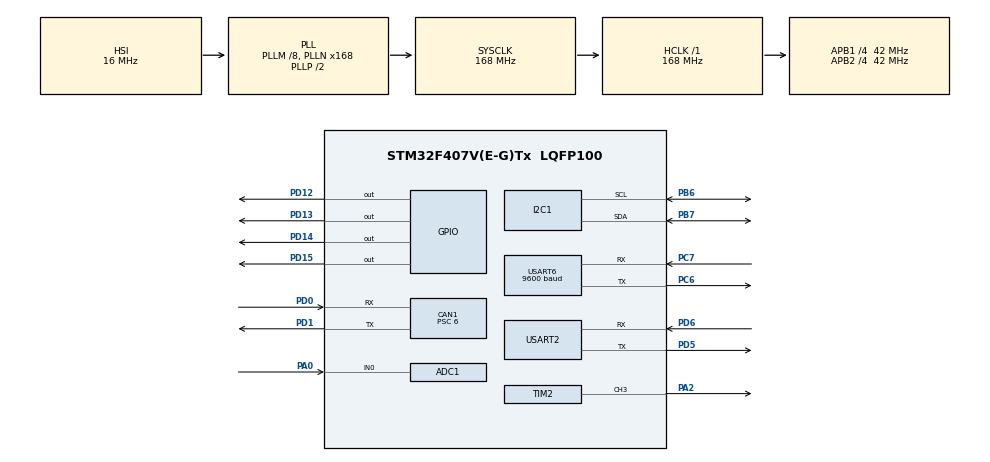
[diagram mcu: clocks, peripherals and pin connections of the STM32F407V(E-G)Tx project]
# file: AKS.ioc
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ADC1.Channel-1\#ChannelRegularConversion=ADC_CHANNEL_0
ADC1.ClockPrescaler=ADC_CLOCK_SYNC_PCLK_DIV4
ADC1.ContinuousConvMode=ENABLE
ADC1.NbrOfConversion=1
ADC1.NbrOfConversionFlag=1
ADC1.Rank-1\#ChannelRegularConversion=1
ADC1.SamplingTime-1\#ChannelRegularConversion=ADC_SAMPLETIME_56CYCLES
ADC1.ScanConvMode=ENABLE
ADC1.master=1
CAN1.BS1=CAN_BS1_11TQ
CAN1.BS2=CAN_BS2_2TQ
CAN1.CalculateBaudRate=500000
CAN1.CalculateTimeBit=2000
CAN1.CalculateTimeQuantum=142.85714285714286
CAN1.Prescaler=6
Dma.Request0=USART6_RX
Dma.USART6_RX.0.Direction=DMA_PERIPH_TO_MEMORY
Dma.USART6_RX.0.FIFOMode=DMA_FIFOMODE_DISABLE
Dma.USART6_RX.0.Instance=DMA2_Stream1
Dma.USART6_RX.0.MemDataAlignment=DMA_MDATAALIGN_BYTE
Dma.USART6_RX.0.MemInc=DMA_MINC_ENABLE
Dma.USART6_RX.0.Mode=DMA_CIRCULAR
Dma.USART6_RX.0.PeriphDataAlignment=DMA_PDATAALIGN_BYTE
Dma.USART6_RX.0.PeriphInc=DMA_PINC_DISABLE
Dma.USART6_RX.0.Priority=DMA_PRIORITY_LOW
FREERTOS.Tasks01=nextion,24,128,start_nextion,Default,NULL,Dynamic,NULL,NULL;rf,24,128,start_rf,Default,NULL,Dynamic,NULL,NULL;can,24,128,start_can,Default,NULL,Dynamic,NULL,NULL;dac,24,128,StartTask04,Default,NULL,Dynamic,NULL,NULL
Mcu.Family=STM32F4
Mcu.Name=STM32F407V(E-G)Tx
Mcu.Package=LQFP100
NVIC.DMA2_Stream1_IRQn=true\:5\:0\:false\:false\:true\:true\:false\:true\:true
NVIC.PriorityGroup=NVIC_PRIORITYGROUP_4
NVIC.TIM7_IRQn=true\:15\:0\:false\:false\:true\:false\:true\:true\:true
NVIC.TimeBase=TIM7_IRQn
NVIC.TimeBaseIP=TIM7
PA0-WKUP.Signal=ADCx_IN0
PA13.Mode=Serial_Wire
PA13.Signal=SYS_JTMS-SWDIO
PA14.Mode=Serial_Wire
PA14.Signal=SYS_JTCK-SWCLK
PA2.Signal=S_TIM2_CH3
PB6.Mode=I2C
PB6.Signal=I2C1_SCL
PB7.Mode=I2C
PB7.Signal=I2C1_SDA
PC6.Mode=Asynchronous
PC6.Signal=USART6_TX
PC7.Mode=Asynchronous
PC7.Signal=USART6_RX
PD0.Mode=CAN_Activate
PD0.Signal=CAN1_RX
PD1.Mode=CAN_Activate
PD1.Signal=CAN1_TX
PD12.Signal=GPIO_Output
PD13.Signal=GPIO_Output
PD14.Signal=GPIO_Output
PD15.Signal=GPIO_Output
PD5.Mode=Asynchronous
PD5.Signal=USART2_TX
PD6.Mode=Asynchronous
PD6.Signal=USART2_RX
PH0-OSC_IN.Mode=HSE-External-Clock-Source
PH0-OSC_IN.Signal=RCC_OSC_IN
PH1-OSC_OUT.Mode=HSE-External-Clock-Source
PH1-OSC_OUT.Signal=RCC_OSC_OUT
ProjectManager.HeapSize=0x200
ProjectManager.StackSize=0x400
ProjectManager.TargetToolchain=STM32CubeIDE
RCC.48MHZClocksFreq_Value=84000000
RCC.AHBFreq_Value=168000000
RCC.APB1CLKDivider=RCC_HCLK_DIV4
RCC.APB1Freq_Value=42000000
RCC.APB1TimFreq_Value=84000000
RCC.APB2CLKDivider=RCC_HCLK_DIV4
RCC.APB2Freq_Value=42000000
RCC.APB2TimFreq_Value=84000000
RCC.CortexFreq_Value=168000000
RCC.HCLKFreq_Value=168000000
RCC.HSE_VALUE=25000000
RCC.HSI_VALUE=16000000
RCC.LSE_VALUE=32768
RCC.PLLM=8
RCC.PLLN=168
RCC.SYSCLKFreq_VALUE=168000000
RCC.SYSCLKSource=RCC_SYSCLKSOURCE_PLLCLK
RCC.VCOOutputFreq_Value=336000000
SH.ADCx_IN0.0=ADC1_IN0,IN0
SH.S_TIM2_CH3.0=TIM2_CH3,PWM Generation3 CH3
TIM2.Channel-PWM\ Generation3\ CH3=TIM_CHANNEL_3
TIM2.Period=100-1
USART2.VirtualMode=VM_ASYNC
USART6.BaudRate=9600
USART6.VirtualMode=VM_ASYNC
VP_ADC1_Vref_Input.Mode=IN-Vrefint
VP_FREERTOS_VS_CMSIS_V2.Mode=CMSIS_V2
VP_SYS_VS_tim7.Mode=TIM7
VP_TIM2_VS_ClockSourceINT.Mode=Internal
board=custom

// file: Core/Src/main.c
/* USER CODE BEGIN Header */
/**
  ******************************************************************************
  * @file           : main.c
  * @brief          : Main program body
  ******************************************************************************
  * @attention
  *
  * Copyright (c) 2023 STMicroelectronics.
  * All rights reserved.
  *
  * This software is licensed under terms that can be found in the LICENSE file
  * in the root directory of this software component.
  * If no LICENSE file comes with this software, it is provided AS-IS.
  *
  ******************************************************************************
  */
/* USER CODE END Header */
#include "main.h"
#include "cmsis_os.h"

/* USER CODE BEGIN Includes */

/*________________________________External Libs_______________________________*/

#include "stdlib.h"
#include "string.h"
#include "stdio.h"
/*----------------------------------------------------------------------------*/
#include "electricar.h"
#include "i2c-lcd.h"
/*____________________________________________________________________________*/

/*________________________________CAN Includes________________________________*/

CAN_TxHeaderTypeDef pTxHeader;
CAN_RxHeaderTypeDef pRxHeader;
CAN_FilterTypeDef sFilterConfig;
uint32_t pTxMailbox;
uint8_t RxData[8];
/*____________________________________________________________________________*/

/*___________________RF VARIABLES, COMPRESSED TEMPS & CONSTS__________________*/

char arr[300];
char tempp[25][4];
const float max_battery=100.8;
char myMessagex[50];
/*____________________________________________________________________________*/

/*______________________________AKS MAIN STRUCTER_____________________________*/

struct struct1{
	struct struct2{
		float battery_voltage[24];
		//float battery_temparature;
		int battery_temparature;
		uint8_t bms_error_code;
		float max_battery;
		float min_battery;
		int sum_battery;
	}BMS;
	struct struct3{
		int charge_watt;
		int time;
		uint8_t voltage_error;
		uint8_t current_error;
		uint8_t temperature_error;
		uint8_t ReadyToFlow;
		uint8_t start_charge_state;
	}CHARGER;
	struct struct4{
		int vehicle_speed: 1;
	}DRIVER;
	struct struct5{
		uint8_t stop_;
		uint8_t hazard_;
		uint8_t left_;
		uint8_t right_;
		uint8_t light_;
		uint8_t wiper_;
		uint8_t horn_;
		char direction_;
	}RELAY;

}ecar;

/*____________________________________________________________________________*/

/*___________________________________NEXTION__________________________________*/

/*PAGE1*/
#define power "t9" //%
#define speed "t10"
#define temp "t11" //°43
#define watt "t0"
#define charge_percentage "t12"
#define charge_time "t5" //sn
#define state_of_charge "p6"
#define left_arrow "p9"
#define right_arrow "p17"
#define horn "p11"
#define lights "p13"
#define wiper "p15"

/*PAGE2*/
#define cell1 "x0"
#define cell2 "x1"
#define cell3 "x2"
#define cell4 "x3"
#define cell5 "x4"
#define cell6 "x5"
#define cell7 "x6"
#define cell8 "x7"
#define cell9 "x8"
#define cell10 "x9"
#define cell11 "x10"
#define cell12 "x11"
#define cell13 "x12"
#define cell14 "x13"
#define cell15 "x14"
#define cell16 "x15"
#define cell17 "x16"
#define cell18 "x17"
#define cell19 "x18"
#define cell20 "x19"
#define cell21 "x20"
#define cell22 "x21"
#define cell23 "x22"
#define cell24 "x23"
#define min_cell "x24"
#define max_cell "x25"

/*PAGE3*/
#define charge_code "t71"
#define voltage_err_code "p81"
#define current_err_code "p83"
#define temperature_err_code "p85"
/*____________________________________________________________________________*/

/* USER CODE END Includes */

/* USER CODE BEGIN PD */
#define Vrefin_cal ((uint16_t *)((uint32_t)0x1FFF7A2A))
/* USER CODE END PD */

 ADC_HandleTypeDef hadc1;

CAN_HandleTypeDef hcan1;

I2C_HandleTypeDef hi2c1;

TIM_HandleTypeDef htim2;

UART_HandleTypeDef huart2;
UART_HandleTypeDef huart6;
DMA_HandleTypeDef hdma_usart6_rx;

/* Definitions for nextion */
osThreadId_t nextionHandle;
const osThreadAttr_t nextion_attributes = {
  .name = "nextion",
  .stack_size = 128 * 4,
  .priority = (osPriority_t) osPriorityNormal,
};
/* Definitions for rf */
osThreadId_t rfHandle;
const osThreadAttr_t rf_attributes = {
  .name = "rf",
  .stack_size = 128 * 4,
  .priority = (osPriority_t) osPriorityNormal,
};
/* Definitions for can */
osThreadId_t canHandle;
const osThreadAttr_t can_attributes = {
  .name = "can",
  .stack_size = 128 * 4,
  .priority = (osPriority_t) osPriorityNormal,
};
/* Definitions for dac */
osThreadId_t dacHandle;
const osThreadAttr_t dac_attributes = {
  .name = "dac",
  .stack_size = 128 * 4,
  .priority = (osPriority_t) osPriorityNormal,
};

void SystemClock_Config(void);
static void MX_GPIO_Init(void);
static void MX_CAN1_Init(void);
static void MX_USART2_UART_Init(void);
static void MX_USART6_UART_Init(void);
static void MX_ADC1_Init(void);
static void MX_DMA_Init(void);
static void MX_TIM2_Init(void);
static void MX_I2C1_Init(void);
void start_nextion(void *argument);
void start_rf(void *argument);
void start_can(void *argument);
void StartTask04(void *argument);

/* USER CODE BEGIN PFP */
/*______________________________External Functions____________________________*/
int prepare_data(){
	sprintf(arr,"%c%c",ecar.RELAY.direction_,ci2a(ecar.DRIVER.vehicle_speed));
	for(int j=0;j<24;j++){
		strcat(arr,cf2a(ecar.BMS.battery_voltage[j],tempp[j]));
		if(j==23){
			strcat(arr,cf2a((float)ecar.BMS.battery_temparature,tempp[j+1]));
		}
	}
	strcat(arr,"1\0");
	return 1;
}

int dest[8];
void decimal_to_bin(uint8_t number){ // EX for 255 = [1][1][1][1][1][1][1][1] binary code
    for(int i=0;i<8;i++){
        dest[i] = number%2;
        number/=2;
    }
}
/* USER CODE END PFP */

/* USER CODE BEGIN 0 */
char M[20];
int fan_level=0;
int temp_of_lcd;

void GET_ADC_VALUE()
{
	if(HAL_ADC_PollForConversion(&hadc1, 5) == HAL_OK)
	{
		uint16_t adc_vall = HAL_ADC_GetValue(&hadc1);
		temp_of_lcd = (adc_vall*330) / 4095;
	}
}

void SEND_DATA_TO_LCD(){

    lcd_init();
    lcd_send_cmd(0x80);
    sprintf(&M[0],"TEMP %cC   : %d%cC", (char)223,ecar.BMS.battery_temparature,(char)223);
    lcd_send_string(&M[0]);
    HAL_Delay(100);

	sprintf(&M[0],"FAN LEVEL : %s", fan_level==0?"----":(fan_level==25?"#---":(fan_level==50?"##--":(fan_level==75?"###-":"####"))));
	lcd_send_cmd(0xC0);
	lcd_send_string(&M[0]);
	HAL_Delay(100);
}

int WaitForMission(uint8_t dest_id,uint8_t id,int timeout,uint8_t message){ // can send with feedback func
	int t_out=0;
	int r_val;
	//int durum=0;
	while(1){
		HAL_CAN_AddTxMessage(&hcan1, &pTxHeader, &message, &pTxMailbox);
		uint8_t rxData[1];
		HAL_CAN_GetRxMessage(&hcan1, CAN_RX_FIFO0, &pRxHeader, rxData);
		if(rxData[0]==id && (dest_id==pRxHeader.StdId || !dest_id)){
			r_val = 1;
			break;
		}
		t_out++;
		HAL_Delay(1);
		if(t_out==timeout){
			r_val = 0;
			break;
		}
	}
	return r_val;
}
void CalculateMaxBattery(){
	int max=ecar.BMS.battery_voltage[0];
	for(int n=1;n<24;n++){
		if(max<ecar.BMS.battery_voltage[n]){max=ecar.BMS.battery_voltage[n];}
	}
	ecar.BMS.max_battery=max;
}
void CalculateMinBattery(){
	int min=ecar.BMS.battery_voltage[0];
	for(int n=1;n<24;n++){
		if(min>ecar.BMS.battery_voltage[n]){min=ecar.BMS.battery_voltage[n];}
	}
	ecar.BMS.min_battery=min;
}
/*____________________________________________________________________________*/

/* USER CODE END 0 */

int main(void)
{

  /* MCU Configuration--------------------------------------------------------*/

  /* Reset of all peripherals, Initializes the Flash interface and the Systick. */
  HAL_Init();

  /* Configure the system clock */
  SystemClock_Config();

  /* Initialize all configured peripherals */
  MX_GPIO_Init();
  MX_CAN1_Init();
  MX_USART2_UART_Init();
  MX_USART6_UART_Init();
  MX_ADC1_Init();
  MX_DMA_Init();
  MX_TIM2_Init();
  MX_I2C1_Init();
  /* USER CODE BEGIN 2 */
  HAL_CAN_Start(&hcan1);
  HAL_ADC_Start(&hadc1);
  HAL_TIM_PWM_Start(&htim2, TIM_CHANNEL_3);
  TIM2->CCR3 = 25; // ex pwm signal for fan level

  ecar.CHARGER.start_charge_state = 'I';
  //HAL_UART_Receive_DMA (&huart6, ecar.CHARGER.start_charge_state, 1);

  pTxHeader.DLC = 1;
  pTxHeader.IDE = CAN_ID_STD;
  pTxHeader.RTR = CAN_RTR_DATA;
  pTxHeader.StdId = 0x10;

   //set filter parameters
   sFilterConfig.FilterActivation = ENABLE;
   sFilterConfig.FilterBank = 0;
   sFilterConfig.FilterFIFOAssignment = CAN_FILTER_FIFO0;
   sFilterConfig.FilterIdHigh = 0x0000 ;
   sFilterConfig.FilterIdLow = 0x0000 ;
   sFilterConfig.FilterMaskIdHigh = 0x0000 ;
   sFilterConfig.FilterMaskIdLow = 0x0000 ;
   sFilterConfig.FilterMode = CAN_FILTERMODE_IDMASK;
   sFilterConfig.FilterScale = CAN_FILTERSCALE_32BIT;

   HAL_CAN_ConfigFilter(&hcan1, &sFilterConfig);

  /* USER CODE END 2 */

  /* Init scheduler */
  osKernelInitialize();

  /* Create the thread(s) */
  /* creation of nextion */
  nextionHandle = osThreadNew(start_nextion, NULL, &nextion_attributes);

  /* creation of rf */
  rfHandle = osThreadNew(start_rf, NULL, &rf_attributes);

  /* creation of can */
  canHandle = osThreadNew(start_can, NULL, &can_attributes);

  /* creation of dac */
  dacHandle = osThreadNew(StartTask04, NULL, &dac_attributes);

  /* Start scheduler */
  osKernelStart();

  /* We should never get here as control is now taken by the scheduler */
  /* Infinite loop */
  while (1)
  {

  }
}

void SystemClock_Config(void)
{
  RCC_OscInitTypeDef RCC_OscInitStruct = {0};
  RCC_ClkInitTypeDef RCC_ClkInitStruct = {0};

  /** Configure the main internal regulator output voltage
  */
  __HAL_RCC_PWR_CLK_ENABLE();
  __HAL_PWR_VOLTAGESCALING_CONFIG(PWR_REGULATOR_VOLTAGE_SCALE1);

  /** Initializes the RCC Oscillators according to the specified parameters
  * in the RCC_OscInitTypeDef structure.
  */
  RCC_OscInitStruct.OscillatorType = RCC_OSCILLATORTYPE_HSI;
  RCC_OscInitStruct.HSIState = RCC_HSI_ON;
  RCC_OscInitStruct.HSICalibrationValue = RCC_HSICALIBRATION_DEFAULT;
  RCC_OscInitStruct.PLL.PLLState = RCC_PLL_ON;
  RCC_OscInitStruct.PLL.PLLSource = RCC_PLLSOURCE_HSI;
  RCC_OscInitStruct.PLL.PLLM = 8;
  RCC_OscInitStruct.PLL.PLLN = 168;
  RCC_OscInitStruct.PLL.PLLP = RCC_PLLP_DIV2;
  RCC_OscInitStruct.PLL.PLLQ = 4;
  if (HAL_RCC_OscConfig(&RCC_OscInitStruct) != HAL_OK)
  {
    Error_Handler();
  }

  /** Initializes the CPU, AHB and APB buses clocks
  */
  RCC_ClkInitStruct.ClockType = RCC_CLOCKTYPE_HCLK|RCC_CLOCKTYPE_SYSCLK
                              |RCC_CLOCKTYPE_PCLK1|RCC_CLOCKTYPE_PCLK2;
  RCC_ClkInitStruct.SYSCLKSource = RCC_SYSCLKSOURCE_PLLCLK;
  RCC_ClkInitStruct.AHBCLKDivider = RCC_SYSCLK_DIV1;
  RCC_ClkInitStruct.APB1CLKDivider = RCC_HCLK_DIV4;
  RCC_ClkInitStruct.APB2CLKDivider = RCC_HCLK_DIV4;

  if (HAL_RCC_ClockConfig(&RCC_ClkInitStruct, FLASH_LATENCY_5) != HAL_OK)
  {
    Error_Handler();
  }
}

static void MX_ADC1_Init(void)
{

  ADC_ChannelConfTypeDef sConfig = {0};

  /** Configure the global features of the ADC (Clock, Resolution, Data Alignment and number of conversion)
  */
  hadc1.Instance = ADC1;
  hadc1.Init.ClockPrescaler = ADC_CLOCK_SYNC_PCLK_DIV4;
  hadc1.Init.Resolution = ADC_RESOLUTION_12B;
  hadc1.Init.ScanConvMode = ENABLE;
  hadc1.Init.ContinuousConvMode = ENABLE;
  hadc1.Init.DiscontinuousConvMode = DISABLE;
  hadc1.Init.ExternalTrigConvEdge = ADC_EXTERNALTRIGCONVEDGE_NONE;
  hadc1.Init.ExternalTrigConv = ADC_SOFTWARE_START;
  hadc1.Init.DataAlign = ADC_DATAALIGN_RIGHT;
  hadc1.Init.NbrOfConversion = 1;
  hadc1.Init.DMAContinuousRequests = DISABLE;
  hadc1.Init.EOCSelection = ADC_EOC_SINGLE_CONV;
  if (HAL_ADC_Init(&hadc1) != HAL_OK)
  {
    Error_Handler();
  }

  /** Configure for the selected ADC regular channel its corresponding rank in the sequencer and its sample time.
  */
  sConfig.Channel = ADC_CHANNEL_0;
  sConfig.Rank = 1;
  sConfig.SamplingTime = ADC_SAMPLETIME_56CYCLES;
  if (HAL_ADC_ConfigChannel(&hadc1, &sConfig) != HAL_OK)
  {
    Error_Handler();
  }

}

static void MX_CAN1_Init(void)
{

  hcan1.Instance = CAN1;
  hcan1.Init.Prescaler = 6;
  hcan1.Init.Mode = CAN_MODE_NORMAL;
  hcan1.Init.SyncJumpWidth = CAN_SJW_1TQ;
  hcan1.Init.TimeSeg1 = CAN_BS1_11TQ;
  hcan1.Init.TimeSeg2 = CAN_BS2_2TQ;
  hcan1.Init.TimeTriggeredMode = DISABLE;
  hcan1.Init.AutoBusOff = DISABLE;
  hcan1.Init.AutoWakeUp = DISABLE;
  hcan1.Init.AutoRetransmission = DISABLE;
  hcan1.Init.ReceiveFifoLocked = DISABLE;
  hcan1.Init.TransmitFifoPriority = DISABLE;
  if (HAL_CAN_Init(&hcan1) != HAL_OK)
  {
    Error_Handler();
  }

}

static void MX_I2C1_Init(void)
{

  hi2c1.Instance = I2C1;
  hi2c1.Init.ClockSpeed = 100000;
  hi2c1.Init.DutyCycle = I2C_DUTYCYCLE_2;
  hi2c1.Init.OwnAddress1 = 0;
  hi2c1.Init.AddressingMode = I2C_ADDRESSINGMODE_7BIT;
  hi2c1.Init.DualAddressMode = I2C_DUALADDRESS_DISABLE;
  hi2c1.Init.OwnAddress2 = 0;
  hi2c1.Init.GeneralCallMode = I2C_GENERALCALL_DISABLE;
  hi2c1.Init.NoStretchMode = I2C_NOSTRETCH_DISABLE;
  if (HAL_I2C_Init(&hi2c1) != HAL_OK)
  {
    Error_Handler();
  }

}

static void MX_TIM2_Init(void)
{

  TIM_ClockConfigTypeDef sClockSourceConfig = {0};
  TIM_MasterConfigTypeDef sMasterConfig = {0};
  TIM_OC_InitTypeDef sConfigOC = {0};

  htim2.Instance = TIM2;
  htim2.Init.Prescaler = 0;
  htim2.Init.CounterMode = TIM_COUNTERMODE_UP;
  htim2.Init.Period = 100-1;
  htim2.Init.ClockDivision = TIM_CLOCKDIVISION_DIV1;
  htim2.Init.AutoReloadPreload = TIM_AUTORELOAD_PRELOAD_DISABLE;
  if (HAL_TIM_Base_Init(&htim2) != HAL_OK)
  {
    Error_Handler();
  }
  sClockSourceConfig.ClockSource = TIM_CLOCKSOURCE_INTERNAL;
  if (HAL_TIM_ConfigClockSource(&htim2, &sClockSourceConfig) != HAL_OK)
  {
    Error_Handler();
  }
  if (HAL_TIM_PWM_Init(&htim2) != HAL_OK)
  {
    Error_Handler();
  }
  sMasterConfig.MasterOutputTrigger = TIM_TRGO_RESET;
  sMasterConfig.MasterSlaveMode = TIM_MASTERSLAVEMODE_DISABLE;
  if (HAL_TIMEx_MasterConfigSynchronization(&htim2, &sMasterConfig) != HAL_OK)
  {
    Error_Handler();
  }
  sConfigOC.OCMode = TIM_OCMODE_PWM1;
  sConfigOC.Pulse = 0;
  sConfigOC.OCPolarity = TIM_OCPOLARITY_HIGH;
  sConfigOC.OCFastMode = TIM_OCFAST_DISABLE;
  if (HAL_TIM_PWM_ConfigChannel(&htim2, &sConfigOC, TIM_CHANNEL_3) != HAL_OK)
  {
    Error_Handler();
  }
  HAL_TIM_MspPostInit(&htim2);

}

static void MX_USART2_UART_Init(void)
{

  huart2.Instance = USART2;
  huart2.Init.BaudRate = 115200;
  huart2.Init.WordLength = UART_WORDLENGTH_8B;
  huart2.Init.StopBits = UART_STOPBITS_1;
  huart2.Init.Parity = UART_PARITY_NONE;
  huart2.Init.Mode = UART_MODE_TX_RX;
  huart2.Init.HwFlowCtl = UART_HWCONTROL_NONE;
  huart2.Init.OverSampling = UART_OVERSAMPLING_16;
  if (HAL_UART_Init(&huart2) != HAL_OK)
  {
    Error_Handler();
  }

}

static void MX_USART6_UART_Init(void)
{

  huart6.Instance = USART6;
  huart6.Init.BaudRate = 9600;
  huart6.Init.WordLength = UART_WORDLENGTH_8B;
  huart6.Init.StopBits = UART_STOPBITS_1;
  huart6.Init.Parity = UART_PARITY_NONE;
  huart6.Init.Mode = UART_MODE_TX_RX;
  huart6.Init.HwFlowCtl = UART_HWCONTROL_NONE;
  huart6.Init.OverSampling = UART_OVERSAMPLING_16;
  if (HAL_UART_Init(&huart6) != HAL_OK)
  {
    Error_Handler();
  }

}

static void MX_DMA_Init(void)
{

  /* DMA controller clock enable */
  __HAL_RCC_DMA2_CLK_ENABLE();

  /* DMA interrupt init */
  /* DMA2_Stream1_IRQn interrupt configuration */
  HAL_NVIC_SetPriority(DMA2_Stream1_IRQn, 5, 0);
  HAL_NVIC_EnableIRQ(DMA2_Stream1_IRQn);

}

static void MX_GPIO_Init(void)
{
  GPIO_InitTypeDef GPIO_InitStruct = {0};

  /* GPIO Ports Clock Enable */
  __HAL_RCC_GPIOH_CLK_ENABLE();
  __HAL_RCC_GPIOA_CLK_ENABLE();
  __HAL_RCC_GPIOD_CLK_ENABLE();
  __HAL_RCC_GPIOC_CLK_ENABLE();
  __HAL_RCC_GPIOB_CLK_ENABLE();

  /*Configure GPIO pin Output Level */
  HAL_GPIO_WritePin(GPIOD, GPIO_PIN_12|GPIO_PIN_13|GPIO_PIN_14|GPIO_PIN_15, GPIO_PIN_RESET);

  /*Configure GPIO pins : PD12 PD13 PD14 PD15 */
  GPIO_InitStruct.Pin = GPIO_PIN_12|GPIO_PIN_13|GPIO_PIN_14|GPIO_PIN_15;
  GPIO_InitStruct.Mode = GPIO_MODE_OUTPUT_PP;
  GPIO_InitStruct.Pull = GPIO_NOPULL;
  GPIO_InitStruct.Speed = GPIO_SPEED_FREQ_LOW;
  HAL_GPIO_Init(GPIOD, &GPIO_InitStruct);

}

void start_nextion(void *argument)
{
  /* USER CODE BEGIN 5 */
  /* Infinite loop */
  for(;;)
  {
	  if(ecar.CHARGER.start_charge_state=='S'){
		  HAL_GPIO_WritePin(GPIOD, GPIO_PIN_15, 1);
	  }

	  //page1
	  //NEXTION_SEND(huart6, 0, charge_code, ecar.BMS.bms_error_code, myMessagex);

	  ecar.BMS.sum_battery=0;
	  for(int k=0;k<24;k++){
		 ecar.BMS.sum_battery+=ecar.BMS.battery_voltage[k]*1000;
	  }
	  NEXTION_SEND(huart6, 2, power,ecar.BMS.sum_battery/((int)(max_battery*1000)), myMessagex);
	  NEXTION_SEND(huart6, 2, speed, ecar.DRIVER.vehicle_speed, myMessagex);
	  NEXTION_SEND(huart6, 2, temp, ecar.BMS.battery_temparature, myMessagex);
	  NEXTION_SEND(huart6, 2, watt, ecar.CHARGER.charge_watt, myMessagex);
	  //NEXTION_SEND(huart6, 2, charge_percentage, number, myMessagex);
	  NEXTION_SEND(huart6, 0, state_of_charge, ecar.CHARGER.ReadyToFlow, myMessagex);
	  NEXTION_SEND(huart6, 2, charge_time, ecar.CHARGER.time, myMessagex);
	  /*NEXTION_	SEND(huart6, 0, left_arrow, status, myMessagex);
	  NEXTION_SEND(huart6, 0, right_arrow, status, myMessagex);
	  NEXTION_SEND(huart6, 0, horn, status, myMessagex);
	  NEXTION_SEND(huart6, 0, lights, status, myMessagex);
	  NEXTION_SEND(huart6, 0, wiper, status, myMessagex);*/

	  //page2
	  NEXTION_SEND(huart6, 1, cell1, (int)(ecar.BMS.battery_voltage[0]*1000), myMessagex);
	  NEXTION_SEND(huart6, 1, cell2, (int)(ecar.BMS.battery_voltage[1]*1000), myMessagex);
	  NEXTION_SEND(huart6, 1, cell3, (int)(ecar.BMS.battery_voltage[2]*1000), myMessagex);
	  NEXTION_SEND(huart6, 1, cell4, (int)(ecar.BMS.battery_voltage[3]*1000), myMessagex);
	  NEXTION_SEND(huart6, 1, cell5, (int)(ecar.BMS.battery_voltage[4]*1000), myMessagex);
	  NEXTION_SEND(huart6, 1, cell6, (int)(ecar.BMS.battery_voltage[5]*1000), myMessagex);
	  NEXTION_SEND(huart6, 1, cell7, (int)(ecar.BMS.battery_voltage[6]*1000), myMessagex);
	  NEXTION_SEND(huart6, 1, cell8, (int)(ecar.BMS.battery_voltage[7]*1000), myMessagex);
	  NEXTION_SEND(huart6, 1, cell9, (int)(ecar.BMS.battery_voltage[8]*1000), myMessagex);
	  NEXTION_SEND(huart6, 1, cell10, (int)(ecar.BMS.battery_voltage[9]*1000), myMessagex);
	  NEXTION_SEND(huart6, 1, cell11, (int)(ecar.BMS.battery_voltage[10]*1000), myMessagex);
	  NEXTION_SEND(huart6, 1, cell12, (int)(ecar.BMS.battery_voltage[11]*1000), myMessagex);
	  NEXTION_SEND(huart6, 1, cell13, (int)(ecar.BMS.battery_voltage[12]*1000), myMessagex);
	  NEXTION_SEND(huart6, 1, cell14, (int)(ecar.BMS.battery_voltage[13]*1000), myMessagex);
	  NEXTION_SEND(huart6, 1, cell15, (int)(ecar.BMS.battery_voltage[14]*1000), myMessagex);
	  NEXTION_SEND(huart6, 1, cell16, (int)(ecar.BMS.battery_voltage[15]*1000), myMessagex);
	  NEXTION_SEND(huart6, 1, cell17, (int)(ecar.BMS.battery_voltage[16]*1000), myMessagex);
	  NEXTION_SEND(huart6, 1, cell18, (int)(ecar.BMS.battery_voltage[17]*1000), myMessagex);
	  NEXTION_SEND(huart6, 1, cell19, (int)(ecar.BMS.battery_voltage[18]*1000), myMessagex);
	  NEXTION_SEND(huart6, 1, cell20, (int)(ecar.BMS.battery_voltage[19]*1000), myMessagex);
	  NEXTION_SEND(huart6, 1, cell21, (int)(ecar.BMS.battery_voltage[20]*1000), myMessagex);
	  NEXTION_SEND(huart6, 1, cell22, (int)(ecar.BMS.battery_voltage[21]*1000), myMessagex);
	  NEXTION_SEND(huart6, 1, cell23, (int)(ecar.BMS.battery_voltage[22]*1000), myMessagex);
	  NEXTION_SEND(huart6, 1, cell24, (int)(ecar.BMS.battery_voltage[23]*1000), myMessagex);
	  NEXTION_SEND(huart6, 1, max_cell, ecar.BMS.max_battery, myMessagex);
	  NEXTION_SEND(huart6, 1, min_cell, ecar.BMS.min_battery, myMessagex);

	  //page3
	  NEXTION_SEND(huart6, 2, charge_code, ecar.BMS.bms_error_code, myMessagex);
	  NEXTION_SEND(huart6, 0, voltage_err_code, ecar.CHARGER.voltage_error, myMessagex);
	  NEXTION_SEND(huart6, 0, current_err_code, ecar.CHARGER.current_error, myMessagex);
	  NEXTION_SEND(huart6, 0, temperature_err_code, ecar.CHARGER.temperature_error, myMessagex);

	  HAL_GPIO_TogglePin(GPIOD, GPIO_PIN_14);
	  //HAL_Delay(20);
  }
  /* USER CODE END 5 */
}

void start_rf(void *argument)
{
  /* USER CODE BEGIN start_rf */
  /* Infinite loop */
  for(;;)
  {
	  //deneme();
	  if(prepare_data()){
		 HAL_UART_Transmit(&huart2, (uint8_t*)arr, strlen(arr), 1000);
		 memset(arr, 0, 300 * sizeof(char));
		 HAL_GPIO_TogglePin(GPIOD, GPIO_PIN_12);
		//HAL_Delay(1000);
	 }
	//HAL_Delay(50);
  }
  /* USER CODE END start_rf */
}

void start_can(void *argument)
{
  /* USER CODE BEGIN start_can */
	pTxHeader.StdId = 0x10;
	pTxHeader.DLC = 1;
	int check_charge_loop=0;
  /* Infinite loop */
  for(;;)
  {
	  uint8_t receive_flag=0;
	  //__________CHARGER___________

	  if(ecar.CHARGER.start_charge_state==(int)'I' || check_charge_loop<3){
		  if(ecar.CHARGER.start_charge_state ==(int)'S' && ecar.BMS.bms_error_code){
			 HAL_CAN_AddTxMessage(&hcan1, &pTxHeader, (uint8_t*)41, &pTxMailbox);  //start charger
			 //WaitForMission(0x19, 0x10, 100, 41);
			 ecar.CHARGER.start_charge_state = 'I';
			 check_charge_loop=0;
		  }
		  else if((ecar.CHARGER.start_charge_state ==(int)'B' && ecar.BMS.bms_error_code!=1) && check_charge_loop<3 ){
			  //HAL_CAN_AddTxMessage(&hcan1, &pTxHeader, (uint8_t*)40, &pTxMailbox);  //check bms
			  WaitForMission(0x19, 0x10, 100, 40);
			  check_charge_loop++;
		  }
		  else if(ecar.CHARGER.start_charge_state==(int)'C'){
			  HAL_CAN_AddTxMessage(&hcan1, &pTxHeader, (uint8_t*)82, &pTxMailbox);  //operation cancel
			  //WaitForMission(0x19, 0x10, 100, 41);
			  ecar.CHARGER.start_charge_state = 'I';
			  check_charge_loop=0;
		  }
		  if(check_charge_loop==3){
			  ecar.CHARGER.start_charge_state = 'I';
			  check_charge_loop=0;
		  }
	  }
	  //__________CHARGER___________

	  HAL_Delay(50);

	  if(!(HAL_CAN_GetRxMessage(&hcan1, CAN_RX_FIFO0, &pRxHeader, RxData))){
	  switch (pRxHeader.StdId) {
	  	case 0x12:
	  		//for if 5.input is direction : => 0b0001 0000 = 16
	  		decimal_to_bin(RxData[0]);

	  		ecar.RELAY.stop_ = dest[0];
			ecar.RELAY.hazard_ = dest[1];
			ecar.RELAY.left_ = dest[2];
			ecar.RELAY.right_ = dest[3];
			ecar.RELAY.light_ = dest[4];
			ecar.RELAY.wiper_ = dest[5];
			ecar.RELAY.horn_ = dest[6];
			ecar.RELAY.direction_ = dest[7]==1?'+':'-';

	  	  	HAL_GPIO_TogglePin(GPIOD, GPIO_PIN_13);
	  	  	receive_flag=1;
	  	  	break;
	  	case 0x14:
			ecar.DRIVER.vehicle_speed = RxData[0];
			HAL_GPIO_TogglePin(GPIOD, GPIO_PIN_13);
			receive_flag=1;
			break;
		case 0x16:
			ecar.CHARGER.charge_watt = (RxData[0]*100)+RxData[1];
			ecar.CHARGER.ReadyToFlow = RxData[3];
			ecar.CHARGER.voltage_error = RxData[4];
			ecar.CHARGER.current_error = RxData[5];
			ecar.CHARGER.temperature_error = RxData[6];
			ecar.CHARGER.time = RxData[7]*60+RxData[8]; //second
			HAL_GPIO_TogglePin(GPIOD, GPIO_PIN_13);
			receive_flag=1;
			break;
	  	case 0x19:
	  		ecar.BMS.bms_error_code = RxData[0];
	  		HAL_GPIO_TogglePin(GPIOD, GPIO_PIN_13);
	  		receive_flag=1;
	  		break;
		case 0x20:
			ecar.BMS.battery_voltage[0]=RxData[0]*100+RxData[1];
			ecar.BMS.battery_voltage[1]=RxData[2]*100+RxData[3];
			ecar.BMS.battery_voltage[2]=RxData[4]*100+RxData[5];
			ecar.BMS.battery_voltage[3]=RxData[6]*100+RxData[7];
			HAL_GPIO_TogglePin(GPIOD, GPIO_PIN_13);
			receive_flag=1;
			break;
		case 0x21:
			ecar.BMS.battery_voltage[4]=RxData[0]*100+RxData[1];
			ecar.BMS.battery_voltage[5]=RxData[2]*100+RxData[3];
			ecar.BMS.battery_voltage[6]=RxData[4]*100+RxData[5];
			ecar.BMS.battery_voltage[7]=RxData[6]*100+RxData[7];
			HAL_GPIO_TogglePin(GPIOD, GPIO_PIN_13);
			receive_flag=1;
			break;
		case 0x22:
			ecar.BMS.battery_voltage[8]=RxData[0]*100+RxData[1];
			ecar.BMS.battery_voltage[9]=RxData[2]*100+RxData[3];
			ecar.BMS.battery_voltage[10]=RxData[4]*100+RxData[5];
			ecar.BMS.battery_voltage[11]=RxData[6]*100+RxData[7];
			HAL_GPIO_TogglePin(GPIOD, GPIO_PIN_13);
			receive_flag=1;
			break;
		case 0x23:
			ecar.BMS.battery_voltage[12]=RxData[0]*100+RxData[1];
			ecar.BMS.battery_voltage[13]=RxData[2]*100+RxData[3];
			ecar.BMS.battery_voltage[14]=RxData[4]*100+RxData[5];
			ecar.BMS.battery_voltage[15]=RxData[6]*100+RxData[7];
			HAL_GPIO_TogglePin(GPIOD, GPIO_PIN_13);
			receive_flag=1;
			break;
		case 0x24:
			ecar.BMS.battery_voltage[16]=RxData[0]*100+RxData[1];
			ecar.BMS.battery_voltage[17]=RxData[2]*100+RxData[3];
			ecar.BMS.battery_voltage[18]=RxData[4]*100+RxData[5];
			ecar.BMS.battery_voltage[19]=RxData[6]*100+RxData[7];
			HAL_GPIO_TogglePin(GPIOD, GPIO_PIN_13);
			receive_flag=1;
			break;
		case 0x25:
			ecar.BMS.battery_voltage[20]=RxData[0]*100+RxData[1];
			ecar.BMS.battery_voltage[21]=RxData[2]*100+RxData[3];
			ecar.BMS.battery_voltage[22]=RxData[4]*100+RxData[5];
			ecar.BMS.battery_voltage[23]=RxData[6]*100+RxData[7];
			HAL_GPIO_TogglePin(GPIOD, GPIO_PIN_13);
			receive_flag=1;
			break;
		case 0x26:
			ecar.BMS.battery_temparature = RxData[0];
			HAL_GPIO_TogglePin(GPIOD, GPIO_PIN_13);
			receive_flag=1;
			break;
	  }
	  if(receive_flag){
		  uint8_t can_feedback[1];can_feedback[0]=pRxHeader.StdId;
		  HAL_CAN_AddTxMessage(&hcan1, &pTxHeader, can_feedback, &pTxMailbox);
		  HAL_GPIO_TogglePin(GPIOD, GPIO_PIN_15);
	  }
	  }
	}
  /* USER CODE END start_can */
}

void StartTask04(void *argument)
{
  /* USER CODE BEGIN StartTask04 */
	lcd_init();
	lcd_reset();
	int counterr=0;
	for(int i=0;i<16;i++){
		lcd_send_cmd(0x80);
		lcd_send_string(counterr==0?"LOADING.  ":(counterr==1?"LOADING.. ":"LOADING..."));
		lcd_send_cmd(0xC0+i);
		lcd_send_string("#");
		HAL_Delay(100);
		counterr++;
		if(counterr>2){counterr=0;};
	}
	lcd_send_cmd(0x80);
	lcd_send_string("                ");
	HAL_Delay(200);
	lcd_send_cmd(0x80);
	lcd_send_string("COMPLETED!");
	HAL_Delay(300);
	lcd_send_cmd(0x80);
	lcd_send_string("                ");
	HAL_Delay(200);
	lcd_send_cmd(0x80);
	lcd_send_string("COMPLETED!");
	HAL_Delay(300);
	lcd_send_cmd(0x80);
	lcd_send_string("                ");
	HAL_Delay(200);
	lcd_send_cmd(0x80);
	lcd_send_string("COMPLETED!");
	HAL_Delay(300);
	lcd_send_cmd(0x80);
	lcd_send_string("                ");
	HAL_Delay(200);
	lcd_send_cmd(0x80);
	lcd_send_string("COMPLETED!");
	HAL_Delay(300);

	HAL_Delay(500);
	lcd_reset();
	HAL_Delay(100);
	sprintf(&M[0],"%s", "E");HAL_Delay(100);lcd_send_string(&M[0]);lcd_send_cmd(0x83);
	sprintf(&M[0],"%s", "L");HAL_Delay(100);lcd_send_string(&M[0]);lcd_send_cmd(0x84);
	sprintf(&M[0],"%s", "E");HAL_Delay(100);lcd_send_string(&M[0]);lcd_send_cmd(0x85);
	sprintf(&M[0],"%s", "C");HAL_Delay(100);lcd_send_string(&M[0]);lcd_send_cmd(0x86);
	sprintf(&M[0],"%s", "T");HAL_Delay(100);lcd_send_string(&M[0]);lcd_send_cmd(0x87);
	sprintf(&M[0],"%s", "R");HAL_Delay(100);lcd_send_string(&M[0]);lcd_send_cmd(0x88);
	sprintf(&M[0],"%s", "I");HAL_Delay(100);lcd_send_string(&M[0]);lcd_send_cmd(0x89);
	sprintf(&M[0],"%s", "C");HAL_Delay(100);lcd_send_string(&M[0]);lcd_send_cmd(0x8A);
	sprintf(&M[0],"%s", "A");HAL_Delay(100);lcd_send_string(&M[0]);lcd_send_cmd(0x8B);
	sprintf(&M[0],"%s", "R");HAL_Delay(100);lcd_send_string(&M[0]);lcd_send_cmd(0x8C);
	HAL_Delay(100);
	lcd_send_cmd(0xC0);
	sprintf(&M[0],"%s", "T");HAL_Delay(100);lcd_send_string(&M[0]);lcd_send_cmd(0xC2);
	sprintf(&M[0],"%s", "H");HAL_Delay(100);lcd_send_string(&M[0]);lcd_send_cmd(0xC3);
	sprintf(&M[0],"%s", "U");HAL_Delay(100);lcd_send_string(&M[0]);lcd_send_cmd(0xC4);
	sprintf(&M[0],"%s", "N");HAL_Delay(100);lcd_send_string(&M[0]);lcd_send_cmd(0xC5);
	sprintf(&M[0],"%s", "D");HAL_Delay(100);lcd_send_string(&M[0]);lcd_send_cmd(0xC6);
	sprintf(&M[0],"%s", "E");HAL_Delay(100);lcd_send_string(&M[0]);lcd_send_cmd(0xC7);
	sprintf(&M[0],"%s", "R");HAL_Delay(100);lcd_send_string(&M[0]);lcd_send_cmd(0xC8);
	sprintf(&M[0],"%s", "V");HAL_Delay(100);lcd_send_string(&M[0]);lcd_send_cmd(0xC9);
	sprintf(&M[0],"%s", "O");HAL_Delay(100);lcd_send_string(&M[0]);lcd_send_cmd(0xCA);
	sprintf(&M[0],"%s", "L");HAL_Delay(100);lcd_send_string(&M[0]);lcd_send_cmd(0xCB);
	sprintf(&M[0],"%s", "T");HAL_Delay(100);lcd_send_string(&M[0]);lcd_send_cmd(0xCC);
	sprintf(&M[0],"%s", "T;");HAL_Delay(100);lcd_send_string(&M[0]);lcd_send_cmd(0xCD);

	HAL_Delay(500);
	//int state_of_tim=0;
	int aim_point = 30;
	int step_number = 10;
	//int countrr=0;
	TIM2->CCR3 = 0;
  /* Infinite loop */
  for(;;)
  {

	  SEND_DATA_TO_LCD();
	  temp_of_lcd = ecar.BMS.battery_temparature;
	  //if(temp_of_lcd<aim_point && state_of_tim){HAL_TIM_PWM_Stop(&htim2, TIM_CHANNEL_3);state_of_tim = 0;fan_level=0;}
	  if(temp_of_lcd>aim_point){//HAL_TIM_PWM_Start(&htim2, TIM_CHANNEL_3);state_of_tim = 1;
	  fan_level=0;}
	  if((temp_of_lcd>aim_point && temp_of_lcd<=aim_point + step_number)){//TIM2->CCR3 = 25;
	  fan_level=25;}
	  if((temp_of_lcd>aim_point + step_number && temp_of_lcd<=aim_point + 2*step_number)){//TIM2->CCR3 = 50;
	  fan_level=50;}
	  if((temp_of_lcd>aim_point + 2*step_number && temp_of_lcd<=aim_point + 3*step_number)){//TIM2->CCR3 = 75;
	  fan_level=75;}
	  if((temp_of_lcd>aim_point + 3*step_number && temp_of_lcd<=aim_point + 4*step_number)){//TIM2->CCR3 = 100;
	  fan_level=100;}
	  CalculateMaxBattery();
	  CalculateMinBattery();
	  HAL_Delay(1000);
  }
  /* USER CODE END StartTask04 */
}

void HAL_TIM_PeriodElapsedCallback(TIM_HandleTypeDef *htim)
{
  if (htim->Instance == TIM7) {
    HAL_IncTick();
  }
  /* USER CODE BEGIN Callback 1 */
 /* HAL_GPIO_TogglePin(GPIOD, GPIO_PIN_14);
  HAL_Delay(200);*/
  /* USER CODE END Callback 1 */
}

void Error_Handler(void)
{
  __disable_irq();
  while (1)
  {
  }
}
